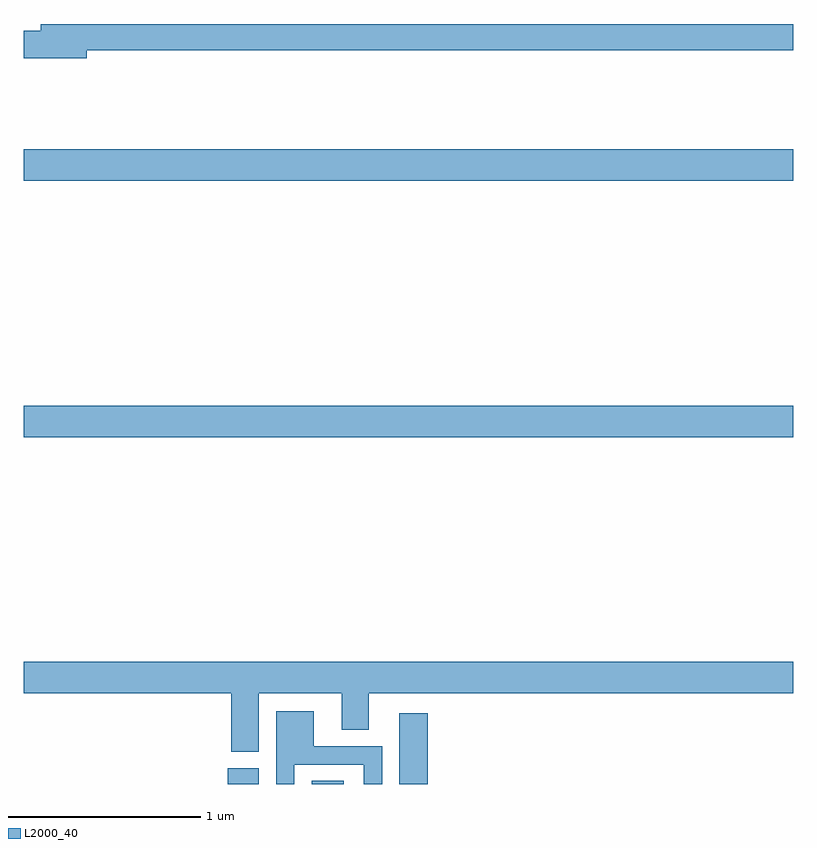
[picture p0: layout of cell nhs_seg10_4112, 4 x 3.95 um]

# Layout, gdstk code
import gdstk
lib = gdstk.Library(unit=1e-6, precision=1e-09)
def R(c, l, rs):  # rectangles x0, y0, x1, y1
    for r in rs: c.add(gdstk.rectangle(r[:2], r[2:], *l))
def P(c, l, *ps):  # polygons
    for p in ps: c.add(gdstk.Polygon(p, *l))
L2000_40 = (2000, 40)

nhs_seg10_4112 = lib.new_cell('nhs_seg10_4112')
R(nhs_seg10_4112, L2000_40, [(340.061,1310.5,340.222,1310.583), (340.496,1310.5,340.663,1310.516), (340.952,1310.5,341.099,1310.869), (339,1312.304,343,1312.468), (339,1313.636,343,1313.8)])
P(nhs_seg10_4112, L2000_40, [(339.328,1314.316),(343,1314.316),(343,1314.452),(339.089,1314.452),(339.089,1314.416),(339,1314.416),(339,1314.274),(339.328,1314.274)],
  [(340.222,1310.972),(340.652,1310.972),(340.652,1310.782),(340.792,1310.782),(340.792,1310.972),(343,1310.972),(343,1311.136),(339,1311.136),(339,1310.972),(340.079,1310.972),(340.079,1310.668),(340.222,1310.668)],
  [(340.407,1310.601),(340.767,1310.601),(340.767,1310.5),(340.863,1310.5),(340.863,1310.697),(340.507,1310.697),(340.507,1310.878),(340.311,1310.878),(340.311,1310.5),(340.407,1310.5)])

lib.write_gds('nhs_seg10_4112.gds')
